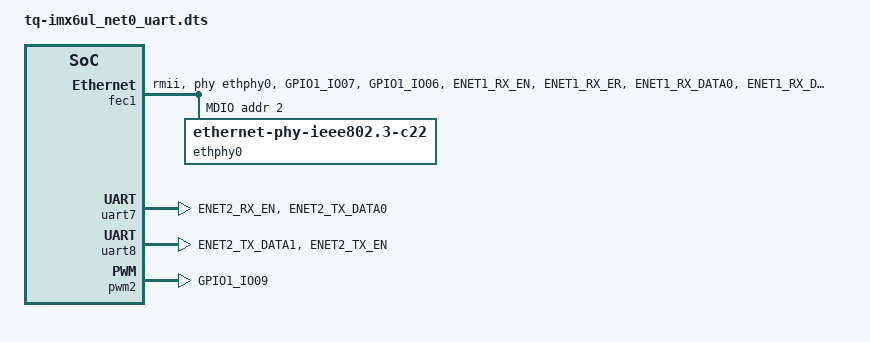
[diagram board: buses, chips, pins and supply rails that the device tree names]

#include "tq-imx6ul.dts"

&iomuxc {
	imx6ul-evk {
		pinctrl_enet1: enet1grp {
			fsl,pins = <
				MX6UL_PAD_GPIO1_IO07__ENET1_MDC		0x1b0b0
				MX6UL_PAD_GPIO1_IO06__ENET1_MDIO	0x1b0b0

				MX6UL_PAD_ENET1_RX_EN__ENET1_RX_EN	0x1b0b0
				MX6UL_PAD_ENET1_RX_ER__ENET1_RX_ER	0x1b0b0
				MX6UL_PAD_ENET1_RX_DATA0__ENET1_RDATA00	0x1b0b0
				MX6UL_PAD_ENET1_RX_DATA1__ENET1_RDATA01	0x1b0b0
				MX6UL_PAD_ENET1_TX_EN__ENET1_TX_EN	0x1b0b0
				MX6UL_PAD_ENET1_TX_DATA0__ENET1_TDATA00	0x1b0b0
				MX6UL_PAD_ENET1_TX_DATA1__ENET1_TDATA01	0x1b0b0
				MX6UL_PAD_ENET1_TX_CLK__ENET1_REF_CLK1	0x4001b031
			>;
		};

		pinctrl_uart8: uart8grp {
			fsl,pins = <
                MX6UL_PAD_ENET2_TX_DATA1__UART8_DCE_TX  0x1b0b1                  
                MX6UL_PAD_ENET2_TX_EN__UART8_DCE_RX  	0x1b0b1 
			>;
		};
		pinctrl_uart7: uart7grp {
			fsl,pins = <
                MX6UL_PAD_ENET2_RX_EN__UART7_DCE_TX     0x1b0b1 
                MX6UL_PAD_ENET2_TX_DATA0__UART7_DCE_RX  0x1b0b1       
			>;
		};


		pinctrl_pwm1: pwm1grp {
			fsl,pins = <
				MX6UL_PAD_GPIO1_IO08__PWM1_OUT   0x110b0
			>;
		};

		pinctrl_pwm2: pwm2grp {
			fsl,pins = <
				MX6UL_PAD_GPIO1_IO09__PWM2_OUT   0x110b0
			>;
		};

	};
};


&fec1 {
	pinctrl-names = "default";
	pinctrl-0 = <&pinctrl_enet1>;
	phy-mode = "rmii";
	phy-handle = <&ethphy0>;
	status = "okay";

	mdio {
		#address-cells = <1>;
		#size-cells = <0>;

		ethphy0: ethernet-phy@2 {
			compatible = "ethernet-phy-ieee802.3-c22";
			reg = <2>;
		};
	};

};


&uart7 {
	pinctrl-names = "default";
	pinctrl-0 = <&pinctrl_uart7>;
	status = "okay";
};
&uart8 {
	pinctrl-names = "default";
	pinctrl-0 = <&pinctrl_uart8>;
	status = "okay";
};

&pwm2 {
        pinctrl-names = "default";
        pinctrl-0 = <&pinctrl_pwm2>;
        clocks = <&clks IMX6UL_CLK_PWM2>,
                        <&clks IMX6UL_CLK_PWM2>;
        clock-names = "ipg", "per";
        status = "okay";
};
